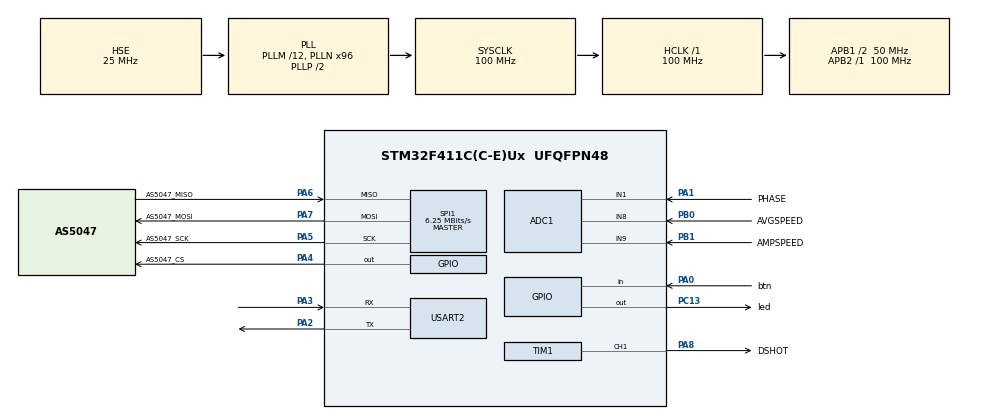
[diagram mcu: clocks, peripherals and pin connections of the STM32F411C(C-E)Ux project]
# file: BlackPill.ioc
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ADC1.Channel-1\#ChannelRegularConversion=ADC_CHANNEL_1
ADC1.Channel-2\#ChannelRegularConversion=ADC_CHANNEL_8
ADC1.Channel-3\#ChannelRegularConversion=ADC_CHANNEL_9
ADC1.Channel-4\#ChannelRegularConversion=ADC_CHANNEL_VREFINT
ADC1.Channel-5\#ChannelRegularConversion=ADC_CHANNEL_TEMPSENSOR
ADC1.DMAContinuousRequests=ENABLE
ADC1.EOCSelection=ADC_EOC_SEQ_CONV
ADC1.NbrOfConversion=5
ADC1.NbrOfConversionFlag=1
ADC1.Rank-1\#ChannelRegularConversion=1
ADC1.Rank-2\#ChannelRegularConversion=2
ADC1.Rank-3\#ChannelRegularConversion=3
ADC1.Rank-4\#ChannelRegularConversion=4
ADC1.Rank-5\#ChannelRegularConversion=5
ADC1.SamplingTime-1\#ChannelRegularConversion=ADC_SAMPLETIME_56CYCLES
ADC1.SamplingTime-2\#ChannelRegularConversion=ADC_SAMPLETIME_56CYCLES
ADC1.SamplingTime-3\#ChannelRegularConversion=ADC_SAMPLETIME_3CYCLES
ADC1.SamplingTime-4\#ChannelRegularConversion=ADC_SAMPLETIME_56CYCLES
ADC1.SamplingTime-5\#ChannelRegularConversion=ADC_SAMPLETIME_3CYCLES
ADC1.ScanConvMode=ENABLE
ADC1.master=1
Dma.ADC1.3.Direction=DMA_PERIPH_TO_MEMORY
Dma.ADC1.3.FIFOMode=DMA_FIFOMODE_DISABLE
Dma.ADC1.3.Instance=DMA2_Stream4
Dma.ADC1.3.MemDataAlignment=DMA_MDATAALIGN_HALFWORD
Dma.ADC1.3.MemInc=DMA_MINC_ENABLE
Dma.ADC1.3.Mode=DMA_CIRCULAR
Dma.ADC1.3.PeriphDataAlignment=DMA_PDATAALIGN_HALFWORD
Dma.ADC1.3.PeriphInc=DMA_PINC_DISABLE
Dma.ADC1.3.Priority=DMA_PRIORITY_HIGH
Dma.Request0=SPI1_RX
Dma.Request1=SPI1_TX
Dma.Request2=TIM1_CH1
Dma.Request3=ADC1
Dma.SPI1_RX.0.Direction=DMA_PERIPH_TO_MEMORY
Dma.SPI1_RX.0.FIFOMode=DMA_FIFOMODE_DISABLE
Dma.SPI1_RX.0.Instance=DMA2_Stream0
Dma.SPI1_RX.0.MemDataAlignment=DMA_MDATAALIGN_HALFWORD
Dma.SPI1_RX.0.MemInc=DMA_MINC_ENABLE
Dma.SPI1_RX.0.Mode=DMA_NORMAL
Dma.SPI1_RX.0.PeriphDataAlignment=DMA_PDATAALIGN_HALFWORD
Dma.SPI1_RX.0.PeriphInc=DMA_PINC_DISABLE
Dma.SPI1_RX.0.Priority=DMA_PRIORITY_LOW
Dma.SPI1_TX.1.Direction=DMA_MEMORY_TO_PERIPH
Dma.SPI1_TX.1.FIFOMode=DMA_FIFOMODE_DISABLE
Dma.SPI1_TX.1.Instance=DMA2_Stream2
Dma.SPI1_TX.1.MemDataAlignment=DMA_MDATAALIGN_HALFWORD
Dma.SPI1_TX.1.MemInc=DMA_MINC_ENABLE
Dma.SPI1_TX.1.Mode=DMA_NORMAL
Dma.SPI1_TX.1.PeriphDataAlignment=DMA_PDATAALIGN_HALFWORD
Dma.SPI1_TX.1.PeriphInc=DMA_PINC_DISABLE
Dma.SPI1_TX.1.Priority=DMA_PRIORITY_LOW
Dma.TIM1_CH1.2.Direction=DMA_MEMORY_TO_PERIPH
Dma.TIM1_CH1.2.FIFOMode=DMA_FIFOMODE_ENABLE
Dma.TIM1_CH1.2.FIFOThreshold=DMA_FIFO_THRESHOLD_1QUARTERFULL
Dma.TIM1_CH1.2.Instance=DMA2_Stream1
Dma.TIM1_CH1.2.MemBurst=DMA_MBURST_SINGLE
Dma.TIM1_CH1.2.MemDataAlignment=DMA_MDATAALIGN_WORD
Dma.TIM1_CH1.2.MemInc=DMA_MINC_ENABLE
Dma.TIM1_CH1.2.Mode=DMA_NORMAL
Dma.TIM1_CH1.2.PeriphBurst=DMA_PBURST_SINGLE
Dma.TIM1_CH1.2.PeriphDataAlignment=DMA_PDATAALIGN_WORD
Dma.TIM1_CH1.2.PeriphInc=DMA_PINC_DISABLE
Dma.TIM1_CH1.2.Priority=DMA_PRIORITY_HIGH
Mcu.Family=STM32F4
Mcu.Name=STM32F411C(C-E)Ux
Mcu.Package=UFQFPN48
NVIC.ADC_IRQn=true\:0\:0\:false\:false\:true\:true\:true\:true
NVIC.DMA2_Stream0_IRQn=true\:0\:0\:false\:false\:true\:false\:true\:true
NVIC.DMA2_Stream1_IRQn=true\:0\:0\:false\:false\:true\:false\:true\:true
NVIC.DMA2_Stream2_IRQn=true\:0\:0\:false\:false\:true\:false\:true\:true
NVIC.DMA2_Stream4_IRQn=true\:0\:0\:false\:false\:true\:false\:true\:true
NVIC.PriorityGroup=NVIC_PRIORITYGROUP_2
NVIC.TIM1_TRG_COM_TIM11_IRQn=true\:0\:0\:false\:false\:true\:true\:true\:true
PA0-WKUP.GPIO_Label=btn
PA0-WKUP.Signal=GPIO_Input
PA1.GPIO_Label=PHASE
PA1.Signal=ADCx_IN1
PA13.Mode=Serial_Wire
PA13.Signal=SYS_JTMS-SWDIO
PA14.Mode=Serial_Wire
PA14.Signal=SYS_JTCK-SWCLK
PA2.Mode=Asynchronous
PA2.Signal=USART2_TX
PA3.Mode=Asynchronous
PA3.Signal=USART2_RX
PA4.GPIO_Label=AS5047_CS
PA4.PinState=GPIO_PIN_SET
PA4.Signal=GPIO_Output
PA5.GPIO_Label=AS5047_SCK
PA5.Mode=Full_Duplex_Master
PA5.Signal=SPI1_SCK
PA6.GPIO_Label=AS5047_MISO
PA6.Mode=Full_Duplex_Master
PA6.Signal=SPI1_MISO
PA7.GPIO_Label=AS5047_MOSI
PA7.Mode=Full_Duplex_Master
PA7.Signal=SPI1_MOSI
PA8.GPIO_Label=DSHOT
PA8.Signal=S_TIM1_CH1
PB0.GPIO_Label=AVGSPEED
PB0.Signal=ADCx_IN8
PB1.GPIO_Label=AMPSPEED
PB1.Signal=ADCx_IN9
PC13-ANTI_TAMP.GPIO_Label=led
PC13-ANTI_TAMP.Signal=GPIO_Output
PC14-OSC32_IN.Mode=LSE-External-Oscillator
PC14-OSC32_IN.Signal=RCC_OSC32_IN
PC15-OSC32_OUT.Mode=LSE-External-Oscillator
PC15-OSC32_OUT.Signal=RCC_OSC32_OUT
PH0\ -\ OSC_IN.Mode=HSE-External-Oscillator
PH0\ -\ OSC_IN.Signal=RCC_OSC_IN
PH1\ -\ OSC_OUT.Mode=HSE-External-Oscillator
PH1\ -\ OSC_OUT.Signal=RCC_OSC_OUT
ProjectManager.HeapSize=0x400
ProjectManager.StackSize=0x400
ProjectManager.TargetToolchain=STM32CubeIDE
RCC.48MHZClocksFreq_Value=50000000
RCC.AHBFreq_Value=100000000
RCC.APB1CLKDivider=RCC_HCLK_DIV2
RCC.APB1Freq_Value=50000000
RCC.APB1TimFreq_Value=100000000
RCC.APB2Freq_Value=100000000
RCC.APB2TimFreq_Value=100000000
RCC.CortexFreq_Value=100000000
RCC.HCLKFreq_Value=100000000
RCC.HSE_VALUE=25000000
RCC.HSI_VALUE=16000000
RCC.PLLM=12
RCC.PLLN=96
RCC.PLLSourceVirtual=RCC_PLLSOURCE_HSE
RCC.SYSCLKFreq_VALUE=100000000
RCC.SYSCLKSource=RCC_SYSCLKSOURCE_PLLCLK
RCC.VCOOutputFreq_Value=200000000
SH.ADCx_IN1.0=ADC1_IN1,IN1
SH.ADCx_IN8.0=ADC1_IN8,IN8
SH.ADCx_IN9.0=ADC1_IN9,IN9
SH.S_TIM1_CH1.0=TIM1_CH1,PWM Generation1 CH1
SPI1.BaudRatePrescaler=SPI_BAUDRATEPRESCALER_16
SPI1.CLKPhase=SPI_PHASE_2EDGE
SPI1.CalculateBaudRate=6.25 MBits/s
SPI1.DataSize=SPI_DATASIZE_16BIT
SPI1.Direction=SPI_DIRECTION_2LINES
SPI1.Mode=SPI_MODE_MASTER
SPI1.VirtualType=VM_MASTER
TIM1.AutoReloadPreload=TIM_AUTORELOAD_PRELOAD_DISABLE
TIM1.Channel-PWM\ Generation1\ CH1=TIM_CHANNEL_1
TIM1.OCIdleState_1=TIM_OCIDLESTATE_RESET
TIM1.OCPolarity_1=TIM_OCPOLARITY_HIGH
TIM1.Period=0
TIM1.Prescaler=0
TIM1.RepetitionCounter=0
TIM1.TIM_MasterOutputTrigger=TIM_TRGO_UPDATE
TIM5.AutoReloadPreload=TIM_AUTORELOAD_PRELOAD_ENABLE
TIM5.Prescaler=100-1
USART2.VirtualMode=VM_ASYNC
VP_ADC1_TempSens_Input.Mode=IN-TempSens
VP_ADC1_Vref_Input.Mode=IN-Vrefint
VP_CRC_VS_CRC.Mode=CRC_Activate
VP_TIM5_VS_ClockSourceINT.Mode=Internal
board=custom

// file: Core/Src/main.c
/* USER CODE BEGIN Header */
/**
  ******************************************************************************
  * @file           : main.c
  * @brief          : Main program body
  ******************************************************************************
  * @attention
  *
  * Copyright (c) 2024 STMicroelectronics.
  * All rights reserved.
  *
  * This software is licensed under terms that can be found in the LICENSE file
  * in the root directory of this software component.
  * If no LICENSE file comes with this software, it is provided AS-IS.
  *
  ******************************************************************************
  */
/* USER CODE END Header */
#include "main.h"
#include "adc.h"
#include "crc.h"
#include "dma.h"
#include "spi.h"
#include "tim.h"
#include "usart.h"
#include "gpio.h"

/* USER CODE BEGIN Includes */
#include "projectMain.h"

#include "AS5047D.h"
#include "debug_scope.h"
#include "dshot.h"
/* USER CODE END Includes */

/* USER CODE BEGIN PTD */
#define MOTOR_BIT_0           7
#define MOTOR_BIT_1           14
#define MOTOR_BITLENGTH       20

#define ESC_POWER_UP 3000  // wait 3s before arming sequence
#define TROTTLE_MAX 500      // trotle max
#define TROTTLE_MIN 48      // trotle min

#define DSHOT_FRAME_SIZE 18
#define min(a,b) ((a) < (b) ? (a) : (b))
#define max(a,b) ((a) > (b) ? (a) : (b))
/* USER CODE END PTD */

/* USER CODE BEGIN PD */
#define MINVOLTAGE (0)
#define MAXVOLTAGE (3300)
#define MINSPEED (0)
#define MAXSPEED (2000)
/* USER CODE END PD */

/* USER CODE BEGIN PV */
uint16_t my_motor_value[4] = {2345, 0, 0, 0};
#define sinMAX (560)
const int32_t sinedata[360] = {0,10,20,29,39,49,59,68,78,88,97,107,116,126,135,145,154,164,173,182,192,201,210,219,228,
237,245,254,263,271,280,288,297,305,313,321,329,337,345,352,360,367,375,382,389,396,403,410,416,423,429,435,441,447,453,
459,464,470,475,480,485,490,494,499,503,508,512,515,519,523,526,529,533,536,538,541,543,546,548,550,551,553,555,556,557,
558,559,559,560,560,560,560,560,559,559,558,557,556,555,553,551,550,548,546,543,541,538,536,533,529,526,523,519,515,512,
508,503,499,494,490,485,480,475,470,464,459,453,447,441,435,429,423,416,410,403,396,389,382,375,367,360,352,345,337,329,
321,313,305,297,288,280,271,263,254,245,237,228,219,210,201,192,182,173,164,154,145,135,126,116,107,97,88,78,68,59,49,39,
29,20,10,0,-10,-20,-29,-39,-49,-59,-68,-78,-88,-97,-107,-116,-126,-135,-145,-154,-164,-173,-182,-192,-201,-210,-219,-228,
-237,-245,-254,-263,-271,-280,-288,-297,-305,-313,-321,-329,-337,-345,-352,-360,-367,-375,-382,-389,-396,-403,-410,-416,
-423,-429,-435,-441,-447,-453,-459,-464,-470,-475,-480,-485,-490,-494,-499,-503,-508,-512,-515,-519,-523,-526,-529,-533,
-536,-538,-541,-543,-546,-548,-550,-551,-553,-555,-556,-557,-558,-559,-559,-560,-560,-560,-560,-560,-559,-559,-558,-557,
-556,-555,-553,-551,-550,-548,-546,-543,-541,-538,-536,-533,-529,-526,-523,-519,-515,-512,-508,-503,-499,-494,-490,-485,
-480,-475,-470,-464,-459,-453,-447,-441,-435,-429,-423,-416,-410,-403,-396,-389,-382,-375,-367,-360,-352,-345,-337,-329,
-321,-313,-305,-297,-288,-280,-271,-263,-254,-245,-237,-228,-219,-210,-201,-192,-182,-173,-164,-154,-145,-135,-126,-116,
-107,-97,-88,-78,-68,-59,-49,-39,-29,-20,-10};

DebugCommand debugCommand = 0;
DebugScope_Handle_t debugData =
  {
        .sz = DEBUGSCOPESIZE,
        .curCh = 1,
        .id = 0,
        .startWriteFlag = false
    };
int32_t encoderAngle = 0;
float spiAngle = 0;

uint16_t ERRFL = 0;
uint16_t PROG = 0;
uint16_t DIAAGC = 0;
uint16_t ANGLEUNC = 0;

uint16_t NOP = 0;
uint16_t CORDICMAG = 0;
uint16_t ANGLECOM = 0;
uint16_t ZPOSM = 0;
uint16_t ZPOSL = 0;
uint16_t SETTINGS1 = 0;
uint16_t SETTINGS2 = 0;

int32_t timerData = 0;
float true_angle = 0.0f;

__IO uint16_t PHASE_Voltage = 0;        /* Value of voltage on GPIO pin (on which is mapped ADC channel) calculated from ADC conversion data (unit: mV) */
__IO uint16_t AVGSPEED_Voltage = 0;        /* Value of voltage on GPIO pin (on which is mapped ADC channel) calculated from ADC conversion data (unit: mV) */
__IO uint16_t AMPSPEED_Voltage = 0;        /* Value of voltage on GPIO pin (on which is mapped ADC channel) calculated from ADC conversion data (unit: mV) */

/* USER CODE END PV */

void SystemClock_Config(void);
/* USER CODE BEGIN PFP */
uint16_t VoltageToAVGSpeed(const uint16_t voltage);
uint16_t VoltageToAmpSpeed(const uint16_t voltage, const uint16_t curspeed);
uint16_t VoltageToPhase(const uint16_t voltage);
/* USER CODE END PFP */

/* USER CODE BEGIN 0 */
void DelayUS(uint32_t us)
{
    uint32_t duration = us * 16;
    LL_TIM_SetCounter(TIM5, 0);
    LL_TIM_EnableCounter(TIM5);
    uint32_t start = TIM5->CNT;
    while (TIM5->CNT - start < duration);
}

int32_t sineData(int32_t angle)
{
    while (angle < 0)
    {
        angle = 360 + angle;
    }
    while (angle >= 360)
    {
        angle = angle - 360;
    }
    return sinedata[angle];
}
/* USER CODE END 0 */

int main(void)
{

  /* MCU Configuration--------------------------------------------------------*/

  /* Reset of all peripherals, Initializes the Flash interface and the Systick. */
  HAL_Init();

  /* Configure the system clock */
  SystemClock_Config();

  /* Initialize all configured peripherals */
  MX_GPIO_Init();
  MX_DMA_Init();
  MX_TIM1_Init();
  MX_CRC_Init();
  MX_USART2_UART_Init();
  MX_SPI1_Init();
  MX_ADC1_Init();
  MX_TIM5_Init();
  /* USER CODE BEGIN 2 */

   /* Initiaize AS5047D */
  uint16_t nop,AGC;

  uint8_t errorFlag[20]={99, 99, 99, 99,99,99,99,99,99,99,99,99,99,99,99,99,99,99,99,99};
  errorFlag[0] = AS5047D_Read(  AS5047_CS_GPIO_Port,   AS5047_CS_Pin, AS5047D_NOP, &nop);
  errorFlag[1] = AS5047D_Get_AGC_Value(&AGC);
  errorFlag[2] = AS5047D_Read(  AS5047_CS_GPIO_Port,   AS5047_CS_Pin, AS5047D_ERRFL, &ERRFL);
  errorFlag[3] = AS5047D_Read(  AS5047_CS_GPIO_Port,   AS5047_CS_Pin, AS5047D_ERRFL, &ERRFL);
  errorFlag[4] = AS5047D_Read(  AS5047_CS_GPIO_Port,   AS5047_CS_Pin, AS5047D_PROG, &PROG);
  errorFlag[5] = AS5047D_Read(  AS5047_CS_GPIO_Port,   AS5047_CS_Pin, AS5047D_ANGLEUNC, &ANGLEUNC);
  errorFlag[6] = AS5047D_Read(  AS5047_CS_GPIO_Port,   AS5047_CS_Pin, AS5047D_CORDICMAG, &CORDICMAG);
  errorFlag[7] = AS5047D_Read(  AS5047_CS_GPIO_Port,   AS5047_CS_Pin, AS5047D_ANGLECOM, &ANGLECOM);
  errorFlag[8] = AS5047D_Read(  AS5047_CS_GPIO_Port,   AS5047_CS_Pin, AS5047D_ZPOSM, &ZPOSM);
  errorFlag[9] = AS5047D_Read(  AS5047_CS_GPIO_Port,   AS5047_CS_Pin, AS5047D_ZPOSL, &ZPOSL);
  errorFlag[10] = AS5047D_Read(  AS5047_CS_GPIO_Port,   AS5047_CS_Pin, AS5047D_SETTINGS1, &SETTINGS1);
  errorFlag[11] = AS5047D_Read(  AS5047_CS_GPIO_Port,   AS5047_CS_Pin, AS5047D_SETTINGS2, &SETTINGS2);

  errorFlag[12] = AS5047D_Get_True_Angle_Value(&true_angle);

  dshot_init(DSHOT600);

  for (int i = 0; i < 10; i++)
  {
    dshot_write(0+0);
    HAL_Delay(1);
  }

  //ProjectMain();
  /* USER CODE END 2 */

  /* Infinite loop */
  /* USER CODE BEGIN WHILE */
  Activate_ADC();

  int32_t avgSpeed = 0;
  int32_t ampSpeed = 0;
  int32_t phase = 0;
  int32_t spiAngle32 = 0;
  uint16_t totalSpeed = 0;
  int32_t sinAnglepPhase = 0;
  int32_t delta = 0;
  uint8_t debugRes = 0;
  float data[DEBUGSCOPENUMOFCH] = {0.0f, 0.0f};
  DebugScopeStartWrite(&debugData);
  while (1)
  {
    errorFlag[7] = AS5047D_Read(  AS5047_CS_GPIO_Port,   AS5047_CS_Pin, AS5047D_ANGLECOM, &ANGLECOM);
    spiAngle32 = ANGLECOM * 360 / 16384;
    // errorFlag[15] = AS5047D_Get_True_Angle_Value(&spiAngle);
    if (errorFlag[7] != 0)
    {
      errorFlag[16] = AS5047D_Read(AS5047_CS_GPIO_Port, AS5047_CS_Pin, AS5047D_ERRFL, &ERRFL);
      continue;
    }

    read_ADC(&PHASE_Voltage, &AVGSPEED_Voltage, &AMPSPEED_Voltage);
    avgSpeed = VoltageToAVGSpeed(AVGSPEED_Voltage);
    if (avgSpeed>1950)
    {
      avgSpeed = 2000;
    }
    if (avgSpeed<50)
    {
      avgSpeed = 0;
    }

    ampSpeed = VoltageToAmpSpeed(AMPSPEED_Voltage, avgSpeed*3/4);
    phase = VoltageToPhase(PHASE_Voltage);

    sinAnglepPhase = sineData(spiAngle32 + phase);
    delta = ampSpeed*sinAnglepPhase/sinMAX;
    totalSpeed = avgSpeed + delta;

    totalSpeed = min(totalSpeed, 2000);
    totalSpeed = max(totalSpeed, 0);

    dshot_write(&totalSpeed);

    data[0] = (float)spiAngle32;
    data[1] = (float)totalSpeed;
    data[2] = (float)delta;
    debugRes = DebugScopeInsertData(&debugData, data);
    if (debugRes == NO_MORE_PLACE_TO_WRITE)
    {
      DebugScopeStartWrite(&debugData);
    }

    /* USER CODE END WHILE */

  }
}

void SystemClock_Config(void)
{
  RCC_OscInitTypeDef RCC_OscInitStruct = {0};
  RCC_ClkInitTypeDef RCC_ClkInitStruct = {0};

  /** Configure the main internal regulator output voltage
  */
  __HAL_RCC_PWR_CLK_ENABLE();
  __HAL_PWR_VOLTAGESCALING_CONFIG(PWR_REGULATOR_VOLTAGE_SCALE1);

  /** Initializes the RCC Oscillators according to the specified parameters
  * in the RCC_OscInitTypeDef structure.
  */
  RCC_OscInitStruct.OscillatorType = RCC_OSCILLATORTYPE_HSE;
  RCC_OscInitStruct.HSEState = RCC_HSE_ON;
  RCC_OscInitStruct.PLL.PLLState = RCC_PLL_ON;
  RCC_OscInitStruct.PLL.PLLSource = RCC_PLLSOURCE_HSE;
  RCC_OscInitStruct.PLL.PLLM = 12;
  RCC_OscInitStruct.PLL.PLLN = 96;
  RCC_OscInitStruct.PLL.PLLP = RCC_PLLP_DIV2;
  RCC_OscInitStruct.PLL.PLLQ = 4;
  if (HAL_RCC_OscConfig(&RCC_OscInitStruct) != HAL_OK)
  {
    Error_Handler();
  }

  /** Initializes the CPU, AHB and APB buses clocks
  */
  RCC_ClkInitStruct.ClockType = RCC_CLOCKTYPE_HCLK|RCC_CLOCKTYPE_SYSCLK
                              |RCC_CLOCKTYPE_PCLK1|RCC_CLOCKTYPE_PCLK2;
  RCC_ClkInitStruct.SYSCLKSource = RCC_SYSCLKSOURCE_PLLCLK;
  RCC_ClkInitStruct.AHBCLKDivider = RCC_SYSCLK_DIV1;
  RCC_ClkInitStruct.APB1CLKDivider = RCC_HCLK_DIV2;
  RCC_ClkInitStruct.APB2CLKDivider = RCC_HCLK_DIV1;

  if (HAL_RCC_ClockConfig(&RCC_ClkInitStruct, FLASH_LATENCY_3) != HAL_OK)
  {
    Error_Handler();
  }
}

/* USER CODE BEGIN 4 */
uint16_t VoltageToAVGSpeed(const uint16_t voltage)
{
  return (uint16_t) ((uint32_t)(voltage - MINVOLTAGE) * (MAXSPEED - MINSPEED)/(MAXVOLTAGE - MINVOLTAGE) + MINSPEED);
}

uint16_t VoltageToAmpSpeed(const uint16_t voltage, const uint16_t curspeed)
{
  return (uint16_t)((uint32_t)(voltage - MINVOLTAGE)* curspeed/(MAXVOLTAGE - MINVOLTAGE) );
}

uint16_t VoltageToPhase(const uint16_t voltage)
{
  return (uint16_t)((uint32_t)(voltage - MINVOLTAGE)* 360 /(MAXVOLTAGE - MINVOLTAGE)) ;
}

/* USER CODE END 4 */

void Error_Handler(void)
{
  __disable_irq();
  while (1)
  {
  }
}
